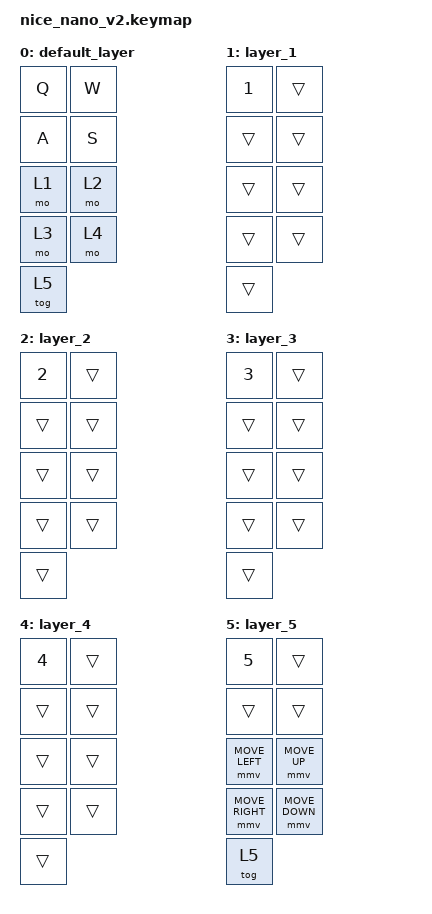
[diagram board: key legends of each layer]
#include <behaviors.dtsi>
#include <dt-bindings/zmk/keys.h>
#include <dt-bindings/zmk/mouse.h>

/ {
    kscan0: kscan {
        compatible = "zmk,kscan-gpio-direct";

        /* index とピンの対応（順番が超重要） */
        input-gpios = <
            &gpio0 6  (GPIO_ACTIVE_LOW | GPIO_PULL_UP)   /* 0: Q */
            &gpio0 8  (GPIO_ACTIVE_LOW | GPIO_PULL_UP)   /* 1: W */
            &gpio0 17 (GPIO_ACTIVE_LOW | GPIO_PULL_UP)   /* 2: A */
            &gpio0 20 (GPIO_ACTIVE_LOW | GPIO_PULL_UP)   /* 3: S */
            &gpio0 2  (GPIO_ACTIVE_LOW | GPIO_PULL_UP)   /* 4: 左 */
            &gpio1 15 (GPIO_ACTIVE_LOW | GPIO_PULL_UP)   /* 5: 上 */
            &gpio1 13 (GPIO_ACTIVE_LOW | GPIO_PULL_UP)   /* 6: 右 */
            &gpio1 11 (GPIO_ACTIVE_LOW | GPIO_PULL_UP)   /* 7: 下 */
            &gpio0 22 (GPIO_ACTIVE_LOW | GPIO_PULL_UP)   /* 8: BTN（押し込み） */
        >;
    };

    chosen {
        zmk,kscan = &kscan0;
    };

        keymap {
        compatible = "zmk,keymap";

        /* レイヤー0：通常 + 方向レイヤー + BTNでマウスモード */
        default_layer {
            bindings = <
                &kp Q   &kp W
                &kp A   &kp S
                &mo 1   &mo 2   /* 左 → L1, 上 → L2 */
                &mo 3   &mo 4   /* 右 → L3, 下 → L4 */
                &tog 5          /* BTN → マウスレイヤー5 ON/OFF */
            >;
        };

        /* レイヤー1：左レイヤー（テスト用に Qの位置だけ変えておく） */
        layer_1 {
            bindings = <
                &kp N1  &trans
                &trans  &trans
                &trans  &trans
                &trans  &trans
                &trans
            >;
        };

        /* レイヤー2：上レイヤー */
        layer_2 {
            bindings = <
                &kp N2  &trans
                &trans  &trans
                &trans  &trans
                &trans  &trans
                &trans
            >;
        };

        /* レイヤー3：右レイヤー */
        layer_3 {
            bindings = <
                &kp N3  &trans
                &trans  &trans
                &trans  &trans
                &trans  &trans
                &trans
            >;
        };

        /* レイヤー4：下レイヤー */
        layer_4 {
            bindings = <
                &kp N4  &trans
                &trans  &trans
                &trans  &trans
                &trans  &trans
                &trans
            >;
        };

        /* レイヤー5：マウスモード */
        layer_5 {
            bindings = <
                &kp N5    &trans
                &trans    &trans
                &mmv MOVE_LEFT   &mmv MOVE_UP
                &mmv MOVE_RIGHT  &mmv MOVE_DOWN
                &tog 5
            >;
        };
    };
};

